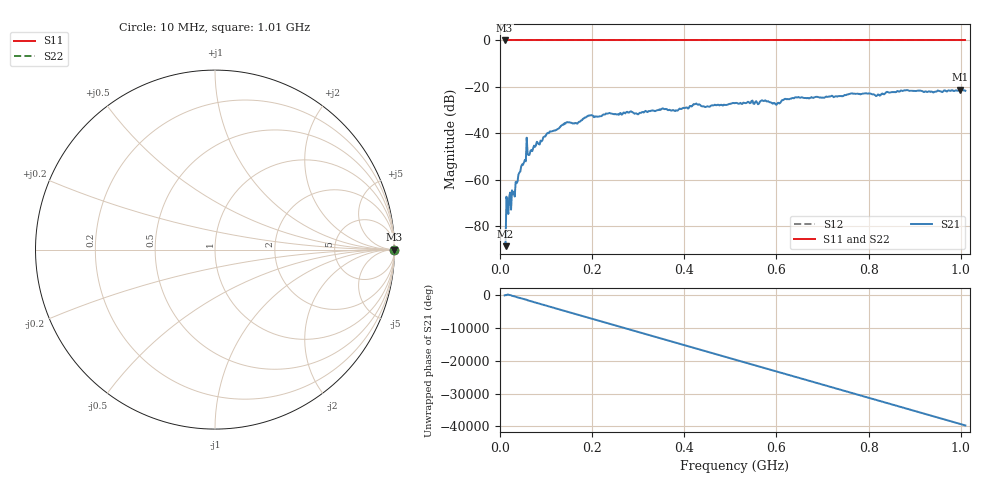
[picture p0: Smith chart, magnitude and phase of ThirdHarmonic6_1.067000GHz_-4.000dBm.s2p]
! 8/16/2025 9:37:36 AM
! C:\ANRITSUVNA\TEMP\TEMP.S2P
! CHANNEL.1
! TR.MEASUREMENT
! RAW.DATA
! RF.CORRECTION.OFF
! AVERAGING.OFF
! IF.BANDWIDTH: 5KHZ
! SWEEPTYPE:  FREQ.SWEEP(Linear)
! Reference Plane Port Info
! PORT:  PORT1  PORT2
! DISTANCE:  0  m  0  m
! TIME:  0  s  0  s
! PHASE.OFFSET:  0  deg.  0  deg.
! LOSS:  0  dB  0  dB
! REF.LOSS:  0  dB  0  dB
! REF.FREQ:  0  Hz  0  Hz
! Power Info
! POWER:  -20  dBm  -20  dBm
! EFF.POWER:  -20  dBm  -20  dBm
! SOURCE.ATTEN:  0  dB  0  dB
! TEST.ATTEN:  0  dB  0  dB
# GHZ S RI R 50.0
! FREQ.GHZ  S11RE  S11IM  S21RE  S21IM  S12RE  S12IM  S22RE  S22IM
!; PortSelection: Port_12
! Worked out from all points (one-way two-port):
!   501 points, 10 MHz to 1.01 GHz, reference 50 ohm
!   highest |S21| = -21.19 dB at 998 MHz (marker M1); lowest = -88.6 dB at 12 MHz (marker M2)
!   lowest |S11| = 0.0 dB at 10 MHz (marker M3)
!   |S11| at or under -10 dB: nowhere
!   |S22| runs from 0.0 to 0.0 dB; largest |S21 - S12| = 1.1
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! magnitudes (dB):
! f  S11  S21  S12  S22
! 10 MHz  0.0  -87.6  0.0  0.0
! 12 MHz  0.0  -88.6  0.0  0.0
! 18 MHz  0.0  -74.8  0.0  0.0
! 20 MHz  0.0  -67.3  0.0  0.0
! 24 MHz  0.0  -72.9  0.0  0.0
! 28 MHz  0.0  -66.3  0.0  0.0
! 44 MHz  0.0  -56.5  0.0  0.0
! 62 MHz  0.0  -49.4  0.0  0.0
! 66 MHz  0.0  -47.6  0.0  0.0
! 106 MHz  0.0  -40.0  0.0  0.0
! 144 MHz  0.0  -35.3  0.0  0.0
! 178 MHz  0.0  -34.3  0.0  0.0
! 196 MHz  0.0  -32.3  0.0  0.0
! 344 MHz  0.0  -30.0  0.0  0.0
! 510 MHz  0.0  -27.0  0.0  0.0
! 572 MHz  0.0  -26.1  0.0  0.0
! 602 MHz  0.0  -27.1  0.0  0.0
! 620 MHz  0.0  -25.2  0.0  0.0
! 678 MHz  0.0  -24.6  0.0  0.0
! 844 MHz  0.0  -22.4  0.0  0.0
! 998 MHz  0.0  -21.2  0.0  0.0
! 1.01 GHz  0.0  -21.7  0.0  0.0
